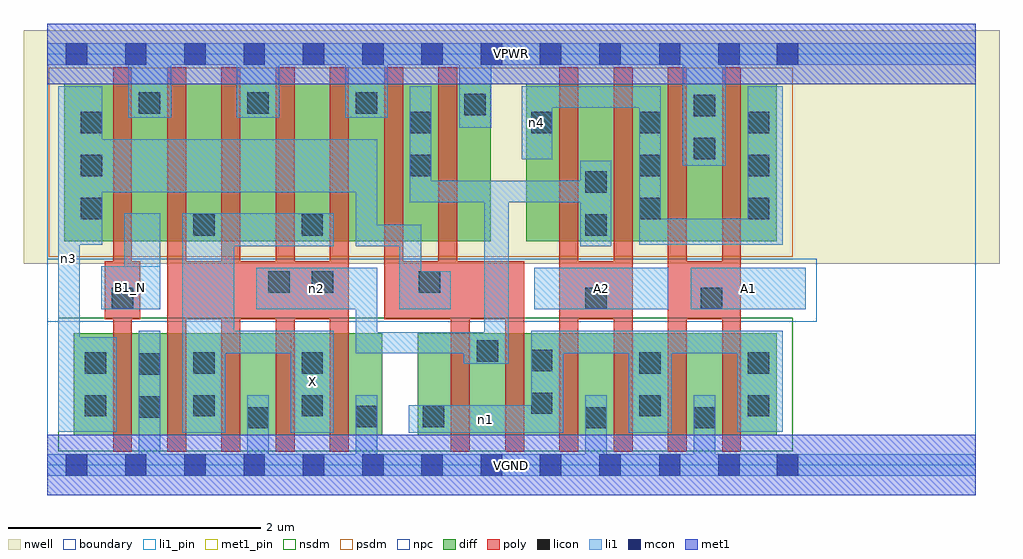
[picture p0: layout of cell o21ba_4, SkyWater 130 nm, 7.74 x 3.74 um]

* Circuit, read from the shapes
.subckt o21ba_4 A1 A2 B1_N VGND VPWR X n1 n2 n3 n4
XM1 VGND B1_N n3 VSUBS sky130_fd_pr__nfet_01v8 w=0.81 l=0.15
XM2 X n2 VGND VSUBS sky130_fd_pr__nfet_01v8 w=0.81 l=0.15 m=4
XM3 n2 n3 n1 VSUBS sky130_fd_pr__nfet_01v8 w=0.81 l=0.15 m=2
XM4 VGND A2 n1 VSUBS sky130_fd_pr__nfet_01v8 w=0.81 l=0.15 m=2
XM5 VGND A1 n1 VSUBS sky130_fd_pr__nfet_01v8 w=0.81 l=0.15 m=2
XM6 VPWR B1_N n3 n5 sky130_fd_pr__pfet_01v8 w=1.25 l=0.15
XM7 X n2 VPWR n5 sky130_fd_pr__pfet_01v8 w=1.25 l=0.15 m=4
XM8 n2 n3 VPWR n5 sky130_fd_pr__pfet_01v8 w=1.25 l=0.15 m=2
XM9 n2 A2 n4 n5 sky130_fd_pr__pfet_01v8 w=1.25 l=0.15 m=2
XM10 VPWR A1 n4 n5 sky130_fd_pr__pfet_01v8 w=1.25 l=0.15 m=2
.ends

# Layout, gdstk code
import gdstk
lib = gdstk.Library(unit=1e-6, precision=1e-09)
def R(c, l, rs):  # rectangles x0, y0, x1, y1
    for r in rs: c.add(gdstk.rectangle(r[:2], r[2:], *l))
def A(c, l, x, y, w, h, nx, ny, dx, dy):  # array of equal rectangles
    R(c, l, [(x+i*dx, y+j*dy, x+i*dx+w, y+j*dy+h) for i in range(nx) for j in range(ny)])
nwell = (64, 20)
diff = (65, 20)
poly = (66, 20)
licon = (66, 44)
li1_pin = (67, 16)
li1 = (67, 20)
mcon = (67, 44)
met1_pin = (68, 16)
met1 = (68, 20)
nsdm = (93, 44)
psdm = (94, 20)
npc = (95, 20)
boundary = (235, 4)

o21ba_4 = lib.new_cell('o21ba_4')
R(o21ba_4, nwell, [(-0.19,1.595,7.55,3.45), (0,1.595,7.36,3.45)])
R(o21ba_4, diff, [(0.21,0.235,2.655,1.045), (2.935,0.235,5.785,1.045), (0.135,1.775,3.515,3.025), (3.795,1.775,5.785,3.025)])
A(o21ba_4, poly, 0.52, 0.105, 0.15, 3.05, 5, 1, 0.43, 0)
A(o21ba_4, poly, 4.06, 0.105, 0.15, 3.05, 4, 1, 0.43, 0)
R(o21ba_4, poly, [(3.2,0.105,3.35,1.615), (3.63,0.105,3.78,1.615), (0.455,1.155,0.735,1.615), (0.95,1.155,2.39,1.615), (2.67,1.155,3.78,1.615), (2.67,1.155,2.82,3.155), (3.1,1.155,3.25,3.155), (4.06,1.155,4.64,1.615), (4.92,1.155,5.5,1.615)])
A(o21ba_4, licon, 0.295, 0.385, 0.17, 0.17, 3, 2, 0.86, 0.34)
A(o21ba_4, licon, 0.265, 1.95, 0.17, 0.17, 1, 3, 0, 0.34)
A(o21ba_4, licon, 3.835, 2.63, 0.17, 0.17, 3, 1, 0.86, 0)
A(o21ba_4, licon, 0.725, 2.785, 0.17, 0.17, 3, 1, 0.86, 0)
R(o21ba_4, licon, [(1.585,0.29,1.755,0.46), (4.265,0.29,4.435,0.46), (5.125,0.29,5.295,0.46), (2.445,0.3,2.615,0.47), (2.975,0.3,3.145,0.47), (0.725,0.375,0.895,0.545), (4.695,0.385,4.865,0.555), (5.555,0.385,5.725,0.555), (3.835,0.405,4.005,0.575), (0.725,0.715,0.895,0.885), (4.695,0.725,4.865,0.895), (5.555,0.725,5.725,0.895), (3.835,0.745,4.005,0.915), (3.405,0.82,3.575,0.99), (0.51,1.235,0.68,1.405), (4.265,1.235,4.435,1.405), (5.18,1.235,5.35,1.405), (1.75,1.365,1.92,1.535), (2.095,1.365,2.265,1.535), (2.945,1.365,3.115,1.535), (1.155,1.82,1.325,1.99), (2.015,1.82,2.185,1.99), (4.265,1.82,4.435,1.99), (4.695,1.95,4.865,2.12), (5.555,1.95,5.725,2.12), (4.265,2.16,4.435,2.33), (2.875,2.29,3.045,2.46), (4.695,2.29,4.865,2.46), (5.555,2.29,5.725,2.46), (5.125,2.425,5.295,2.595), (2.875,2.63,3.045,2.8), (5.125,2.765,5.295,2.935), (3.305,2.775,3.475,2.945)])
R(o21ba_4, li1_pin, [(1.93,0.255,2.27,1.065), (0.425,1.235,0.895,1.575), (3.86,1.235,4.925,1.565), (5.1,1.235,6.015,1.565)])
A(o21ba_4, li1, 0.64, 2.755, 0.34, 0.59, 3, 1, 0.86, 0)
R(o21ba_4, li1, [(0,-0.085,7.36,0.085), (0.725,-0.085,0.895,1.065), (1.585,-0.085,1.755,0.555), (2.445,-0.085,2.615,0.555), (4.265,-0.085,4.435,0.555), (5.125,-0.085,5.295,0.555), (1.07,0.255,1.41,1.995), (1.93,0.255,2.27,1.065), (2.865,0.255,4.09,0.475), (3.835,0.255,4.09,1.065), (4.61,0.255,4.95,1.065), (0.085,0.265,0.255,3.005), (0.085,0.265,0.55,1.015), (5.47,0.265,5.83,1.065), (3.3,0.805,3.66,1.055), (3.465,0.805,3.66,2.255), (1.07,0.885,2.27,1.065), (1.07,0.885,1.48,1.995), (2.445,0.885,3.66,1.055), (2.445,0.885,2.615,1.565), (3.835,0.885,5.83,1.065), (0.425,1.235,0.895,1.575), (0.61,1.235,0.895,1.995), (1.655,1.235,2.615,1.565), (2.79,1.235,2.965,1.905), (2.79,1.235,3.2,1.535), (3.86,1.235,4.925,1.565), (5.1,1.235,6.015,1.565), (1.07,1.735,2.27,1.995), (2.445,1.735,2.615,2.585), (2.445,1.735,2.965,1.905), (4.225,1.735,4.47,2.415), (0.085,1.745,0.435,3.005), (4.695,1.745,5.83,1.955), (4.695,1.745,4.865,3.005), (5.555,1.745,5.83,3.005), (2.875,2.085,4.47,2.255), (2.875,2.085,3.045,3.005), (0.085,2.165,2.615,2.585), (5.04,2.375,5.38,3.345), (3.76,2.425,4.005,3.005), (3.265,2.675,3.52,3.345), (3.76,2.835,4.865,3.005), (0,3.175,7.36,3.345)])
A(o21ba_4, mcon, 0.145, -0.085, 0.17, 0.17, 10, 2, 0.47, 3.26)
R(o21ba_4, mcon, [(4.85,-0.085,5.02,0.085), (5.32,-0.085,5.49,0.085), (5.785,-0.085,5.955,0.085), (4.85,3.175,5.02,3.345), (5.32,3.175,5.49,3.345), (5.785,3.175,5.955,3.345)])
R(o21ba_4, met1_pin, [(0,-0.24,7.36,0.24), (0,3.02,7.36,3.5)])
R(o21ba_4, met1, [(0,-0.24,7.36,0.24), (0,3.02,7.36,3.5)])
R(o21ba_4, nsdm, [(0.085,0.11,5.91,1.17)])
R(o21ba_4, psdm, [(0.01,1.65,5.91,3.15)])
R(o21ba_4, npc, [(0,1.135,6.1,1.635)])
R(o21ba_4, boundary, [(0,0,7.36,3.26)])
o21ba_4.add(gdstk.Label('A1', (5.557,1.4), layer=67, texttype=5))
o21ba_4.add(gdstk.Label('A2', (4.392,1.4), layer=67, texttype=5))
o21ba_4.add(gdstk.Label('B1_N', (0.66,1.405), layer=67, texttype=5))
o21ba_4.add(gdstk.Label('X', (2.1,0.66), layer=67, texttype=5))
o21ba_4.add(gdstk.Label('n1', (3.477,0.365), layer=67, texttype=5))
o21ba_4.add(gdstk.Label('n3', (0.17,1.635), layer=67, texttype=5))
o21ba_4.add(gdstk.Label('n2', (2.135,1.4), layer=67, texttype=5))
o21ba_4.add(gdstk.Label('n4', (3.882,2.715), layer=67, texttype=5))
o21ba_4.add(gdstk.Label('VPWR', (3.68,3.26), layer=68, texttype=5))
o21ba_4.add(gdstk.Label('VGND', (3.68,0), layer=68, texttype=5))
o21ba_4.add(gdstk.Label('A1', (5.557,1.4), layer=67, texttype=16))
o21ba_4.add(gdstk.Label('A2', (4.392,1.4), layer=67, texttype=16))
o21ba_4.add(gdstk.Label('B1_N', (0.66,1.405), layer=67, texttype=16))
o21ba_4.add(gdstk.Label('X', (2.1,0.66), layer=67, texttype=16))
o21ba_4.add(gdstk.Label('VPWR', (3.68,3.26), layer=68, texttype=16))
o21ba_4.add(gdstk.Label('VGND', (3.68,0), layer=68, texttype=16))

lib.write_gds('o21ba_4.gds')
